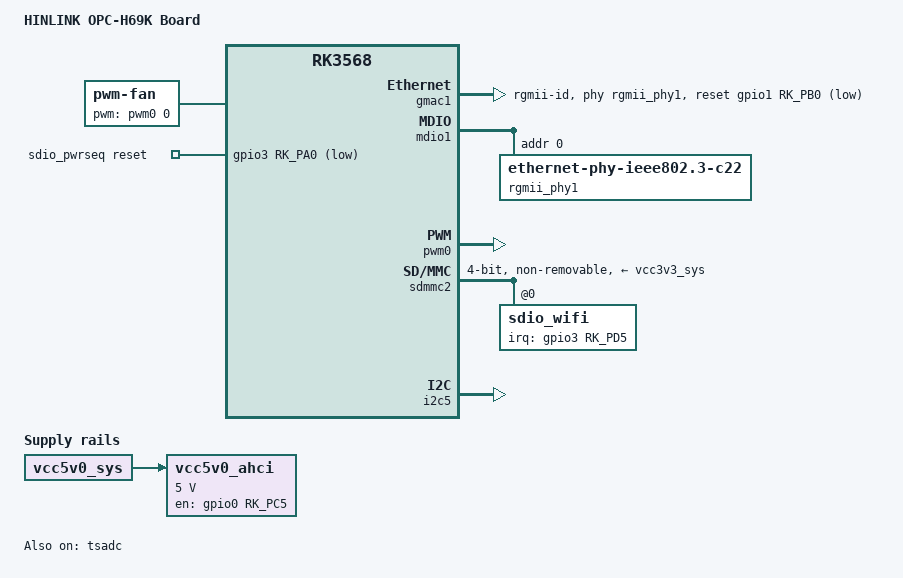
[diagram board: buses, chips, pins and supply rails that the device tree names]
// SPDX-License-Identifier: (GPL-2.0+ OR MIT)
/*
 * HINLINK OPC-H69K (RK3568) —— 精简固件专用设备树
 *
 * 上游 OpenWrt main（内核 6.18）已自带 rk3568-hinlink-opc.dtsi，
 * 本文件只描述 H69K 与公共 dtsi 的差异，因此不需要给内核打任何补丁：
 * 把本文件放进 target/linux/rockchip/files/arch/arm64/boot/dts/rockchip/
 * 后，OpenWrt 的 image.mk 会直接用 cpp + dtc 把它编成 image-rk3568-opc-h69k.dtb。
 *
 * 保留的功能：5G（USB/QMI，无需 dts 节点）、Wi-Fi（M.2 PCIe mt7921）、
 *             双 2.5G 网口、PWM 风扇、四档温控、SSD1306 OLED（i2c5）。
 */

/dts-v1/;

#include <dt-bindings/gpio/gpio.h>
#include <dt-bindings/interrupt-controller/irq.h>
#include <dt-bindings/pinctrl/rockchip.h>

#include "rk3568-hinlink-opc.dtsi"

/ {
	model = "HINLINK OPC-H69K Board";
	compatible = "hinlink,opc-h69k", "rockchip,rk3568";

	aliases {
		ethernet0 = &gmac1;
	};

	/* PWM 风扇：pwm0 -> 4pin 风扇。cooling-levels 与温控 map 一一对应 */
	fan: pwm-fan {
		compatible = "pwm-fan";
		cooling-levels = <0 90 120 165 210 255>;
		#cooling-cells = <2>;
		pwms = <&pwm0 0 50000 0>;
	};

	/* SATA 供电（保留节点，驱动是否安装由镜像包列表决定） */
	vcc5v0_ahci: vcc5v0-ahci {
		compatible = "regulator-fixed";
		enable-active-high;
		gpio = <&gpio0 RK_PC5 GPIO_ACTIVE_HIGH>;
		pinctrl-names = "default";
		pinctrl-0 = <&sata_pwr_en>;
		regulator-min-microvolt = <5000000>;
		regulator-max-microvolt = <5000000>;
		regulator-name = "vcc5v0_ahci";
		vin-supply = <&vcc5v0_sys>;
	};

	/* SDIO 无线（aic8800 类模组才用得到；M.2 mt7921 走 PCIe，不依赖此节点） */
	sdio_pwrseq: sdio-pwrseq {
		compatible = "mmc-pwrseq-simple";
		clocks = <&rk809 1>;
		clock-names = "ext_clock";
		pinctrl-names = "default";
		pinctrl-0 = <&wifi_enable>;
		post-power-on-delay-ms = <300>;
		power-off-delay-us = <5000000>;
		reset-gpios = <&gpio3 RK_PA0 GPIO_ACTIVE_LOW>;
	};
};

/* SoC 温度传感器：过热直接关机（mode 0） */
&tsadc {
	status = "okay";
	rockchip,hw-tshut-mode = <0>;
};

/*
 * 四档风扇曲线 45/55/65/75℃，回差 4℃。
 * cooling-maps 不能叫 map0/map1 —— 基础 dtsi 已占用这两个节点名，
 * dtc 会静默合并同名节点，导致档位丢失。
 */
&cpu_thermal {
	trips {
		fan_trip1: fan-trip1 {
			temperature = <45000>;
			hysteresis = <4000>;
			type = "active";
		};
		fan_trip2: fan-trip2 {
			temperature = <55000>;
			hysteresis = <4000>;
			type = "active";
		};
		fan_trip3: fan-trip3 {
			temperature = <65000>;
			hysteresis = <4000>;
			type = "active";
		};
		fan_trip4: fan-trip4 {
			temperature = <75000>;
			hysteresis = <4000>;
			type = "active";
		};
	};

	cooling-maps {
		fan-map1 {
			trip = <&fan_trip1>;
			cooling-device = <&fan 0 1>;
		};
		fan-map2 {
			trip = <&fan_trip2>;
			cooling-device = <&fan 1 2>;
		};
		fan-map3 {
			trip = <&fan_trip3>;
			cooling-device = <&fan 2 3>;
		};
		fan-map4 {
			trip = <&fan_trip4>;
			cooling-device = <&fan 3 4>;
		};
	};
};

/* 千兆/2.5G 网口（gmac1 + RTL 系 PHY） */
&gmac1 {
	assigned-clocks = <&cru SCLK_GMAC1_RX_TX>, <&cru SCLK_GMAC1>;
	assigned-clock-parents = <&cru SCLK_GMAC1_RGMII_SPEED>;
	assigned-clock-rates = <0>, <125000000>;
	clock_in_out = "output";
	phy-mode = "rgmii-id";
	pinctrl-names = "default";
	pinctrl-0 = <&gmac1m1_miim
		     &gmac1m1_tx_bus2
		     &gmac1m1_rx_bus2
		     &gmac1m1_rgmii_clk
		     &gmac1m1_rgmii_bus>;
	snps,reset-gpio = <&gpio1 RK_PB0 GPIO_ACTIVE_LOW>;
	snps,reset-active-low;
	snps,reset-delays-us = <0 20000 100000>;
	tx_delay = <0x4f>;
	rx_delay = <0x26>;
	phy-handle = <&rgmii_phy1>;
	status = "okay";
};

&mdio1 {
	rgmii_phy1: ethernet-phy@0 {
		compatible = "ethernet-phy-ieee802.3-c22";
		reg = <0x0>;
	};
};

&pinctrl {
	sata {
		sata_pwr_en: sata-pwr-en {
			rockchip,pins = <0 RK_PC5 RK_FUNC_GPIO &pcfg_pull_none>;
		};
	};

	sdio-pwrseq {
		wifi_enable: wifi-enable {
			rockchip,pins = <3 RK_PA0 RK_FUNC_GPIO &pcfg_pull_none>;
		};

		wifi_host_wake: wifi-host-wake {
			rockchip,pins = <3 RK_PD5 RK_FUNC_GPIO &pcfg_pull_down>;
		};
	};
};

&pwm0 {
	status = "okay";
};

&sata0 {
	target-supply = <&vcc5v0_ahci>;
};

&sdmmc2 {
	bus-width = <4>;
	disable-wp;
	cap-sd-highspeed;
	cap-sdio-irq;
	keep-power-in-suspend;
	mmc-pwrseq = <&sdio_pwrseq>;
	non-removable;
	pinctrl-names = "default";
	pinctrl-0 = <&sdmmc2m0_bus4 &sdmmc2m0_cmd &sdmmc2m0_clk>;
	sd-uhs-sdr12;
	sd-uhs-sdr25;
	sd-uhs-sdr50;
	sd-uhs-sdr104;
	vmmc-supply = <&vcc3v3_sys>;
	vqmmc-supply = <&vcc_1v8>;
	status = "okay";

	sdio_wifi@0 {
		reg = <0>;
		interrupt-parent = <&gpio3>;
		interrupts = <RK_PD5 IRQ_TYPE_LEVEL_HIGH>;
		interrupt-names = "host-wake";
		pinctrl-names = "default";
		pinctrl-0 = <&wifi_host_wake>;
	};
};

/* 调试串口不用，避免和前面板 UART 抢引脚 */
&uart0 {
	status = "disabled";
};

/* SSD1306 0.91" 128x32 OLED 挂在 i2c5 -> /dev/i2c-5（luci-app-oled 依赖） */
&i2c5 {
	status = "okay";
};

/*
 * 上游 dtsi 打开了 i2c2 且复用 i2c2m1：
 *   i2c2m1_scl = gpio0 RK_PC4 = PCIe 3.3V 使能
 *   i2c2m1_sda = gpio0 RK_PC5 = SATA 5V 使能
 * 本板无 i2c2 器件，关掉以免和供电脚抢引脚。
 */
&i2c2 {
	/delete-property/ pinctrl-names;
	/delete-property/ pinctrl-0;
	status = "disabled";
};

/* PCIe 3.3V 上电延时，与厂商固件一致 */
&vcc3v3_pi6c_05 {
	startup-delay-us = <5000>;
};
